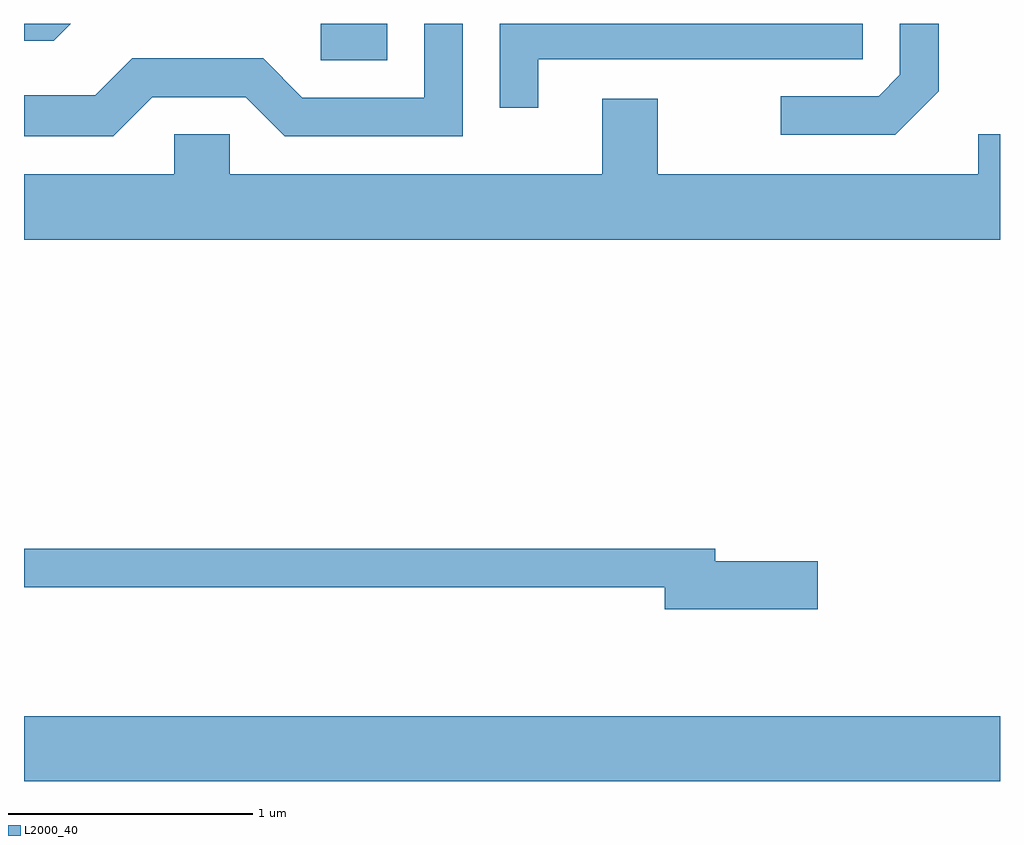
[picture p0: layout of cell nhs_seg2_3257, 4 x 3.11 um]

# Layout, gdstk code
import gdstk
lib = gdstk.Library(unit=1e-6, precision=1e-09)
def R(c, l, rs):  # rectangles x0, y0, x1, y1
    for r in rs: c.add(gdstk.rectangle(r[:2], r[2:], *l))
def P(c, l, *ps):  # polygons
    for p in ps: c.add(gdstk.Polygon(p, *l))
L2000_40 = (2000, 40)

nhs_seg2_3257 = lib.new_cell('nhs_seg2_3257')
R(nhs_seg2_3257, L2000_40, [(279.611,1112.696,283.611,1112.964), (280.828,1115.651,281.099,1115.802)])
P(nhs_seg2_3257, L2000_40, [(283.359,1115.524),(283.359,1115.802),(283.201,1115.802),(283.201,1115.592),(283.114,1115.504),(282.713,1115.504),(282.713,1115.346),(283.182,1115.346)],
  [(279.803,1115.802),(279.611,1115.802),(279.611,1115.731),(279.732,1115.731)],
  [(281.719,1115.656),(283.049,1115.656),(283.049,1115.802),(281.561,1115.802),(281.561,1115.458),(281.719,1115.458)],
  [(280.137,1115.501),(280.519,1115.501),(280.679,1115.341),(281.409,1115.341),(281.409,1115.802),(281.251,1115.802),(281.251,1115.499),(280.752,1115.499),(280.592,1115.659),(280.054,1115.659),(279.904,1115.509),(279.611,1115.509),(279.611,1115.341),(279.977,1115.341)],
  [(283.611,1115.349),(283.521,1115.349),(283.521,1115.184),(282.209,1115.184),(282.209,1115.494),(281.981,1115.494),(281.981,1115.184),(280.454,1115.184),(280.454,1115.349),(280.226,1115.349),(280.226,1115.184),(279.611,1115.184),(279.611,1114.916),(283.611,1114.916)],
  [(282.864,1113.599),(282.444,1113.599),(282.444,1113.649),(279.611,1113.649),(279.611,1113.491),(282.236,1113.491),(282.236,1113.401),(282.864,1113.401)])

lib.write_gds('nhs_seg2_3257.gds')
